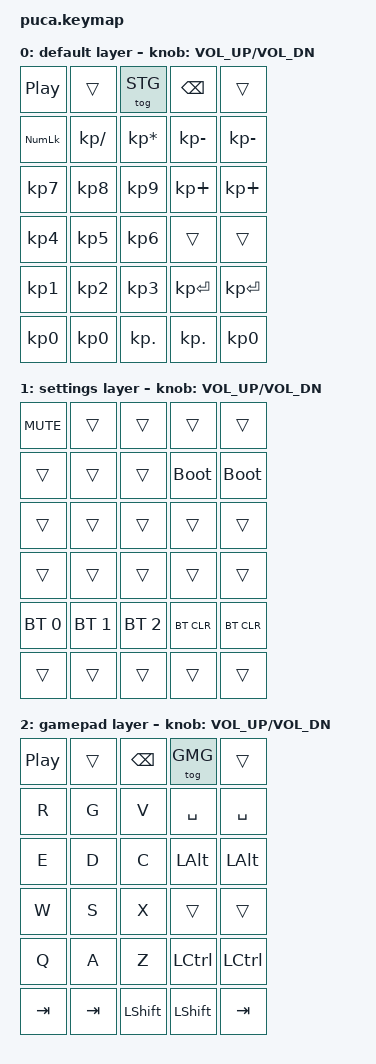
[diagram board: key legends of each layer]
/*
 * Copyright (c) 2021 The ZMK Contributors
 *
 * SPDX-License-Identifier: MIT
 */

#include <behaviors.dtsi>
#include <dt-bindings/zmk/keys.h>
#include <dt-bindings/zmk/bt.h>
#include <dt-bindings/zmk/rgb.h>


#define TIMEOUT 300

#define DEF 0
#define STG 1
#define GMG 2

 / {
    keymap0: keymap {
        compatible = "zmk,keymap";

        default_layer {
            label = "default layer";
            bindings = <
                &kp C_PP            &trans              &tog STG             &kp BACKSPACE       &trans
                &kp KP_NLCK         &kp KP_DIVIDE       &kp  KP_MULTIPLY     &kp KP_MINUS        &kp KP_MINUS    
                &kp KP_N7           &kp KP_N8           &kp  KP_N9           &kp KP_PLUS         &kp KP_PLUS   
                &kp KP_N4           &kp KP_N5           &kp  KP_N6           &trans              &trans
                &kp KP_N1           &kp KP_N2           &kp  KP_N3           &kp KP_ENTER        &kp KP_ENTER
                &kp KP_N0           &kp KP_N0           &kp  KP_DOT          &kp KP_DOT          &kp KP_N0 
            >;
            sensor-bindings = < &inc_dec_kp C_VOL_UP C_VOL_DN >;

        };


        settings_layer {
            label = "settings layer";
            bindings = <
                &kp C_MUTE      &trans          &trans          &trans          &trans
                &trans          &trans          &trans          &bootloader     &bootloader    
                &trans          &trans          &trans          &trans          &trans   
                &trans          &trans          &trans          &trans          &trans
                &bt BT_SEL 0    &bt BT_SEL 1    &bt BT_SEL 2    &bt BT_CLR      &bt BT_CLR
                &trans          &trans          &trans          &trans          &trans
            >;
            sensor-bindings = < &inc_dec_kp C_VOL_UP C_VOL_DN >;

        }; 


        gamepad_layer {
            label = "gamepad layer";
            bindings = <
                &kp C_PP        &trans          &kp BSPC        &tog GMG        &trans
                &kp R           &kp G           &kp V           &kp SPACE       &kp SPACE    
                &kp E           &kp D           &kp C           &kp LALT        &kp LALT   
                &kp W           &kp S           &kp X           &trans          &trans
                &kp Q           &kp A           &kp Z           &kp LCTRL       &kp LCTRL
                &kp TAB         &kp TAB         &kp LSHFT       &kp LSHFT       &kp TAB
            >;
            sensor-bindings = < &inc_dec_kp C_VOL_UP C_VOL_DN >;

        };

    };
};
